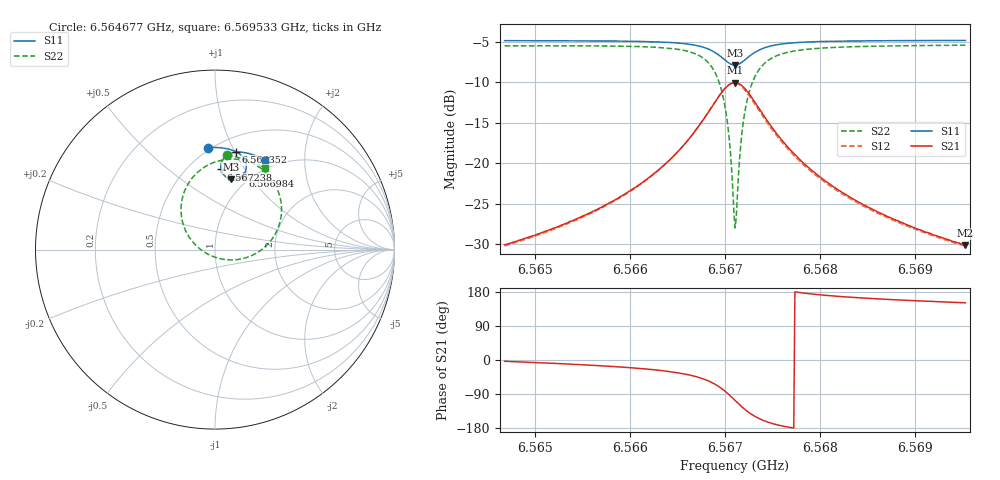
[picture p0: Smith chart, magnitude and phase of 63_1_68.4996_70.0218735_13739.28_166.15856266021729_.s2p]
#  HZ  S  RI  R  50.00
! Rohde & Schwarz Vector Network Analyzer
! Rohde-Schwarz,ZNB20-2Port,1311601062101988,3.16
! Created: UTC 3/20/2024, 4:51:19 PM
! freq[Hz]  re:S11  im:S11  re:S21  im:S21  re:S12  im:S12  re:S22  im:S22
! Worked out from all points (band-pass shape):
!   401 points, 6.564677 GHz to 6.569533 GHz, reference 50 ohm
!   highest |S21| = -10.05 dB at 6.567105 GHz (marker M1); lowest = -30.1 dB at 6.569533 GHz (marker M2)
!   |S21| within 3 dB of the highest: 6.566861 GHz to 6.567347 GHz (486.4 kHz wide, 0.00741 % of centre)
!   lowest |S11| = -7.9 dB at 6.567105 GHz (marker M3), VSWR 2.35, Z = 42.4 + j39.8 ohm
!   |S11| at or under -10 dB: nowhere
!   |S22| runs from -28.0 to -5.4 dB; largest |S21 - S12| = 0.016
!   S11 on the Smith chart (normalised r, x): 6.564677 GHz: 0.48, +0.81; 6.566352 GHz: 0.64, +1.01; 6.566984 GHz: 0.91, +0.93; 6.567238 GHz: 0.71, +0.79; 6.569533 GHz: 0.87, +1.29
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6.5646773e9  -0.037 0.5682  0.0315 -0.00184  0.0308 -0.00245  0.0665 0.5251
6.5654905e9  0.0314 0.5671  0.0457 -0.0101  0.0451 -0.0108  0.1488 0.5076
6.5659275e9  0.072 0.5607  0.0602 -0.0207  0.0593 -0.0215  0.2053 0.4846
6.5663038e9  0.1119 0.5478  0.0816 -0.0419  0.0803 -0.0428  0.2699 0.4411
6.5663523e9  0.1176 0.5451  0.085 -0.0462  0.0839 -0.0474  0.2799 0.432
6.5666072e9  0.15 0.5216  0.1081 -0.0864  0.1064 -0.0883  0.3394 0.3531
6.5667893e9  0.1716 0.4851  0.1193 -0.1509  0.1162 -0.1544  0.3709 0.2285
6.5668986e9  0.1729 0.4475  0.1031 -0.217  0.0969 -0.2215  0.3437 0.1026
6.5669835e9  0.1543 0.4128  0.0534 -0.2766  0.0426 -0.2797  0.2503 -0.00743
6.5670321e9  0.132 0.397  0.00377 -0.3013  -0.00984 -0.3017  0.1573 -0.0495
6.5670563e9  0.1179 0.3925  -0.026 -0.3073  -0.0406 -0.3053  0.1024 -0.0574
6.5670928e9  0.0949 0.3914  -0.0735 -0.3052  -0.0881 -0.2993  0.0172 -0.0477
6.5671049e9  0.0872 0.3927  -0.0893 -0.3013  -0.1035 -0.2941  -0.0102 -0.0387
6.567117e9  0.0798 0.395  -0.1046 -0.2959  -0.1182 -0.2875  -0.0365 -0.027
6.5671292e9  0.0726 0.398  -0.1191 -0.2891  -0.1319 -0.2795  -0.0614 -0.0128
6.5671777e9  0.049 0.4165  -0.1669 -0.2503  -0.1757 -0.2375  -0.1395 0.0629
6.5672384e9  0.0343 0.4466  -0.1986 -0.1906  -0.202 -0.177  -0.1849 0.1725
6.5673355e9  0.0377 0.4889  -0.2002 -0.1085  -0.1985 -0.098  -0.1732 0.3158
6.5674812e9  0.0647 0.5242  -0.1658 -0.0402  -0.1621 -0.0346  -0.0976 0.4296
6.5679182e9  0.1351 0.5437  -0.0896 0.00929  -0.0873 0.0107  0.0673 0.503
6.5687314e9  0.2157 0.5268  -0.0436 0.0161  -0.0427 0.0164  0.2005 0.4886
6.5695325e9  0.2773 0.4992  -0.0274 0.0152  -0.0268 0.0153  0.2769 0.4565
